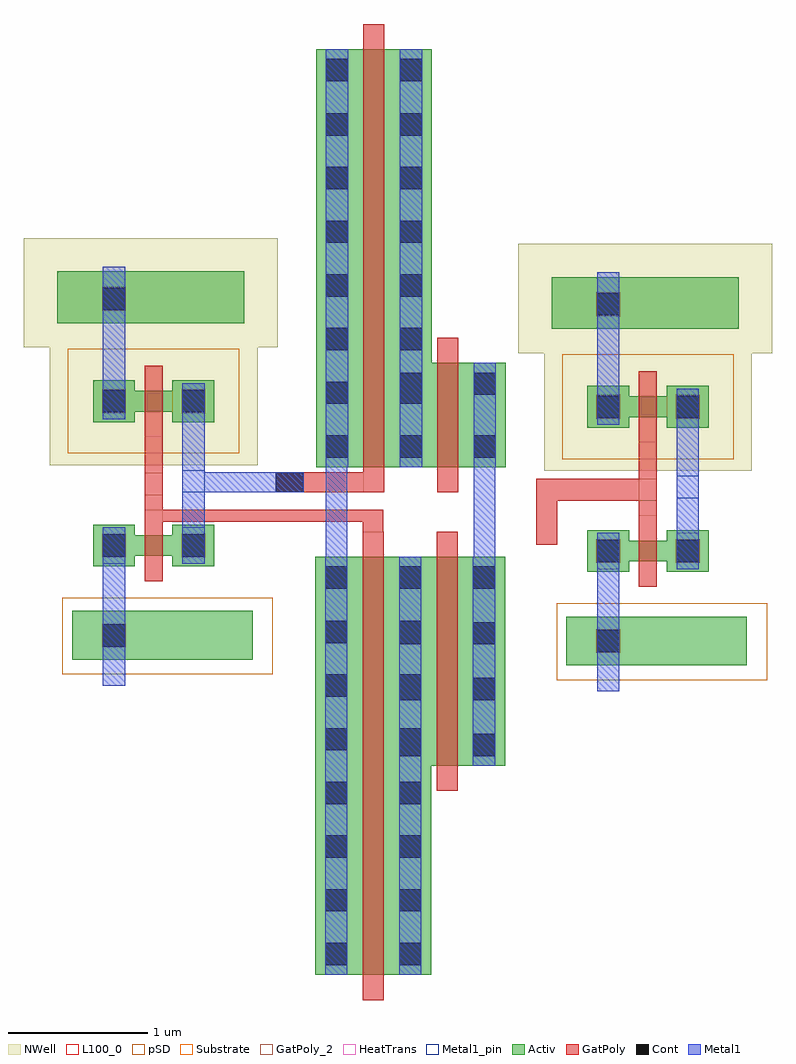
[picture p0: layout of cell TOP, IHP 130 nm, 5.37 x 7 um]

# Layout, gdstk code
import gdstk
lib = gdstk.Library(unit=1e-6, precision=5e-09)
def R(c, l, rs):  # rectangles x0, y0, x1, y1
    for r in rs: c.add(gdstk.rectangle(r[:2], r[2:], *l))
def A(c, l, x, y, w, h, nx, ny, dx, dy):  # array of equal rectangles
    R(c, l, [(x+i*dx, y+j*dy, x+i*dx+w, y+j*dy+h) for i in range(nx) for j in range(ny)])
def P(c, l, *ps):  # polygons
    for p in ps: c.add(gdstk.Polygon(p, *l))
Activ = (1, 0)
GatPoly = (5, 0)
GatPoly_2 = (5, 2)
Cont = (6, 0)
Metal1 = (8, 0)
Metal1_pin = (8, 2)
pSD = (14, 0)
NWell = (31, 0)
Substrate = (40, 0)
HeatTrans = (51, 0)
L100_0 = (100, 0)

nmos_1 = lib.new_cell('nmos$1')
R(nmos_1, Activ, [(0,0,0.3,0.3), (0,0,0.83,0.75), (0.53,0,0.83,0.3)])
R(nmos_1, GatPoly, [(0.34,-0.18,0.49,0.93)])
R(nmos_1, GatPoly_2, [(0.34,-0.18,0.49,0.93)])
R(nmos_1, Cont, [(0.07,0.07,0.23,0.23), (0.6,0.07,0.76,0.23), (0.07,0.52,0.23,0.68), (0.6,0.52,0.76,0.68)])
R(nmos_1, Metal1, [(0.07,0,0.23,0.75), (0.6,0,0.76,0.75)])
R(nmos_1, Metal1_pin, [(0.07,0,0.23,0.75), (0.6,0,0.76,0.75)])
R(nmos_1, HeatTrans, [(0.34,-0.18,0.49,0.93)])
nmos_1.add(gdstk.Label('nmos', (0.415,0.375), layer=63, texttype=0))
nmos_1.add(gdstk.Label('nmos', (0.415,0.375), layer=51, texttype=0))

nmos_2 = lib.new_cell('nmos$2')
R(nmos_2, Activ, [(0,0,0.3,0.3), (0,0,0.83,1.5), (0.53,0,0.83,0.3)])
R(nmos_2, GatPoly, [(0.34,-0.18,0.49,1.68)])
R(nmos_2, GatPoly_2, [(0.34,-0.18,0.49,1.68)])
A(nmos_2, Cont, 0.07, 0.07, 0.16, 0.16, 1, 4, 0, 0.4)
A(nmos_2, Cont, 0.6, 0.07, 0.16, 0.16, 1, 4, 0, 0.4)
R(nmos_2, Metal1, [(0.07,0,0.23,1.5), (0.6,0,0.76,1.5)])
R(nmos_2, Metal1_pin, [(0.07,0,0.23,1.5), (0.6,0,0.76,1.5)])
R(nmos_2, HeatTrans, [(0.34,-0.18,0.49,1.68)])
nmos_2.add(gdstk.Label('nmos', (0.415,0.75), layer=63, texttype=0))
nmos_2.add(gdstk.Label('nmos', (0.415,0.75), layer=51, texttype=0))

nmos_3 = lib.new_cell('nmos$3')
R(nmos_3, Activ, [(0,0,0.3,0.3), (0,0,0.83,3), (0.53,0,0.83,0.3)])
R(nmos_3, GatPoly, [(0.34,-0.18,0.49,3.18)])
R(nmos_3, GatPoly_2, [(0.34,-0.18,0.49,3.18)])
A(nmos_3, Cont, 0.07, 0.07, 0.16, 0.16, 1, 7, 0, 0.385)
A(nmos_3, Cont, 0.6, 0.07, 0.16, 0.16, 1, 7, 0, 0.385)
R(nmos_3, Cont, [(0.07,2.77,0.23,2.93), (0.6,2.77,0.76,2.93)])
R(nmos_3, Metal1, [(0.07,0,0.23,3), (0.6,0,0.76,3)])
R(nmos_3, Metal1_pin, [(0.07,0,0.23,3), (0.6,0,0.76,3)])
R(nmos_3, HeatTrans, [(0.34,-0.18,0.49,3.18)])
nmos_3.add(gdstk.Label('nmos', (0.415,1.5), layer=63, texttype=0))
nmos_3.add(gdstk.Label('nmos', (0.415,1.5), layer=51, texttype=0))

pmos = lib.new_cell('pmos')
R(pmos, Activ, [(0,0,0.3,0.3), (0.57,0,0.87,0.3), (0,0.075,0.87,0.225)])
R(pmos, GatPoly, [(0.37,-0.105,0.5,0.405), (0.37,-0.105,0.5,0.405)])
R(pmos, Cont, [(0.07,0.07,0.23,0.23), (0.64,0.07,0.8,0.23)])
R(pmos, Metal1, [(0.07,0.02,0.23,0.28), (0.07,0.02,0.23,0.28), (0.64,0.02,0.8,0.28), (0.64,0.02,0.8,0.28)])
R(pmos, pSD, [(-0.18,-0.225,1.05,0.525)])
R(pmos, NWell, [(-0.31,-0.31,1.18,0.61)])
R(pmos, Substrate, [(0.57,0,0.87,0.3)])
R(pmos, HeatTrans, [(0.37,-0.105,0.5,0.405)])
pmos.add(gdstk.Label('pmos', (0.435,0.15), layer=63, texttype=0))
pmos.add(gdstk.Label('pmos', (0.435,0.15), layer=51, texttype=0))

nmos = lib.new_cell('nmos')
R(nmos, Activ, [(0,0,0.3,0.3), (0.57,0,0.87,0.3), (0,0.075,0.87,0.225)])
R(nmos, GatPoly, [(0.37,-0.105,0.5,0.405)])
R(nmos, GatPoly_2, [(0.37,-0.105,0.5,0.405)])
R(nmos, Cont, [(0.07,0.07,0.23,0.23), (0.64,0.07,0.8,0.23)])
R(nmos, Metal1, [(0.07,0.02,0.23,0.28), (0.64,0.02,0.8,0.28)])
R(nmos, Metal1_pin, [(0.07,0.02,0.23,0.28), (0.64,0.02,0.8,0.28)])
R(nmos, HeatTrans, [(0.37,-0.105,0.5,0.405)])
nmos.add(gdstk.Label('nmos', (0.435,0.15), layer=63, texttype=0))
nmos.add(gdstk.Label('nmos', (0.435,0.15), layer=51, texttype=0))

inv_bel = lib.new_cell('inv_bel')
R(inv_bel, Activ, [(0.16,0.06,1.455,0.41), (0.055,2.475,1.395,2.845)])
P(inv_bel, Activ, [(1.385,0.4),(1.385,0.4),(1.39,0.4),(1.39,0.4)])
R(inv_bel, GatPoly, [(0.68,1.135,0.81,1.66)])
R(inv_bel, GatPoly_2, [(0.68,1.24,0.81,1.4)])
R(inv_bel, Cont, [(0.38,0.155,0.54,0.315), (0.38,2.57,0.54,2.73)])
R(inv_bel, Metal1, [(0.38,-0.125,0.54,0.775), (0.95,1.01,1.11,1.785), (0.38,2.045,0.54,2.805), (0.38,2.805,0.54,2.88)])
R(inv_bel, Metal1_pin, [(0.38,0.155,0.54,0.315), (0.95,1.26,1.11,1.42)])
R(inv_bel, pSD, [(0.09,-0.045,1.6,0.505)])
R(inv_bel, NWell, [(-0.185,2.3,1.635,3.085)])
R(inv_bel, L100_0, [(0.375,0.15,0.545,0.32), (0.375,0.15,0.545,0.32), (0.375,0.795,0.545,0.965), (0.375,0.795,0.545,0.965), (0.945,0.795,1.115,0.965), (0.945,0.795,1.115,0.965), (0.375,1.83,0.545,2), (0.375,1.83,0.545,2), (0.945,1.83,1.115,2), (0.945,1.83,1.115,2), (0.375,2.565,0.545,2.735), (0.375,2.565,0.545,2.735)])
inv_bel.add(gdstk.Reference(pmos, (0.31,1.765)))
inv_bel.add(gdstk.Reference(nmos, (0.31,0.73)))
inv_bel.add(gdstk.Label('vdd', (0.435,2.64), layer=8, texttype=2))
inv_bel.add(gdstk.Label('Vout', (1,1.315), layer=8, texttype=2))
inv_bel.add(gdstk.Label('vss', (0.435,0.205), layer=8, texttype=2))
inv_bel.add(gdstk.Label('VIN', (0.71,1.3), layer=5, texttype=2))

inversor = lib.new_cell('inversor')
inversor.add(gdstk.Reference(inv_bel, (1.685,-0.595)))

top = lib.new_cell('TOP')
R(top, GatPoly, [(4.11,2.205,4.26,2.68), (2.865,2.3,3.01,2.455), (1.3,2.37,3.01,2.455), (4.11,2.52,4.975,2.68), (2.24,2.58,3.02,2.725)])
R(top, Cont, [(2.24,2.58,2.44,2.725)])
R(top, Metal1, [(2.6,1.65,2.755,3.2), (3.66,1.725,3.815,3.135), (1.57,2.58,2.44,2.725)])
top.add(gdstk.Reference(nmos_1, (3.06,2.76)))
top.add(gdstk.Reference(nmos_2, (3.055,0.62)))
top.add(gdstk.Reference(nmos_3, (2.53,2.76)))
top.add(gdstk.Reference(nmos_3, (2.525,-0.88)))
top.add(gdstk.Reference(inversor, (-1.065,1.915)))
top.add(gdstk.Reference(inversor, (2.48,1.875)))

lib.write_gds('TOP.gds')
